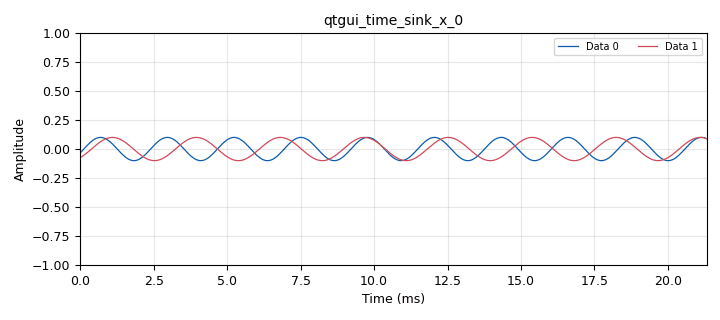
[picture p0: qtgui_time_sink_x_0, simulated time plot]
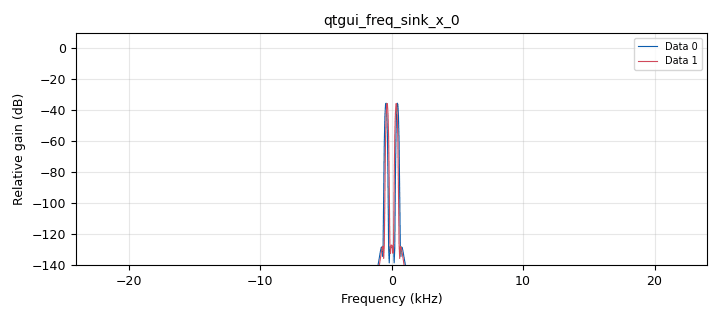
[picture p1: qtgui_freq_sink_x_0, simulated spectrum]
<?xml version='1.0' encoding='utf-8'?>
<?grc format='1' created='3.7.7'?>
<flow_graph>
<block>
<key>options</key>
<param><key>id</key><value>tutorial_two_6</value></param>
<param><key>generate_options</key><value>qt_gui</value></param>
<param><key>category</key><value>Custom</value></param>
</block>
<block>
<key>variable</key>
<param><key>id</key><value>audio_rate</value></param>
<param><key>value</key><value>48000</value></param>
</block>
<block>
<key>audio_sink</key>
<param><key>id</key><value>audio_sink_0</value></param>
<param><key>samp_rate</key><value>audio_rate</value></param>
<param><key>num_inputs</key><value>2</value></param>
</block>
<block>
<key>analog_sig_source_x</key>
<param><key>id</key><value>analog_sig_source_x_1</value></param>
<param><key>type</key><value>float</value></param>
<param><key>samp_rate</key><value>samp_rate</value></param>
<param><key>waveform</key><value>analog.GR_SIN_WAVE</value></param>
<param><key>freq</key><value>350</value></param>
<param><key>amp</key><value>.1</value></param>
<param><key>offset</key><value>0</value></param>
</block>
<block>
<key>analog_sig_source_x</key>
<param><key>id</key><value>analog_sig_source_x_0</value></param>
<param><key>type</key><value>float</value></param>
<param><key>samp_rate</key><value>samp_rate</value></param>
<param><key>waveform</key><value>analog.GR_SIN_WAVE</value></param>
<param><key>freq</key><value>440</value></param>
<param><key>amp</key><value>.1</value></param>
<param><key>offset</key><value>0</value></param>
</block>
<block>
<key>qtgui_time_sink_x</key>
<param><key>id</key><value>qtgui_time_sink_x_0</value></param>
<param><key>type</key><value>float</value></param>
<param><key>name</key><value></value></param>
<param><key>size</key><value>1024</value></param>
<param><key>srate</key><value>audio_rate</value></param>
<param><key>nconnections</key><value>2</value></param>
<param><key>label1</key><value></value></param>
<param><key>color1</key><value>"blue"</value></param>
<param><key>label2</key><value></value></param>
<param><key>color2</key><value>"red"</value></param>
</block>
<block>
<key>qtgui_freq_sink_x</key>
<param><key>id</key><value>qtgui_freq_sink_x_0</value></param>
<param><key>type</key><value>float</value></param>
<param><key>name</key><value></value></param>
<param><key>fftsize</key><value>1024</value></param>
<param><key>wintype</key><value>firdes.WIN_BLACKMAN_hARRIS</value></param>
<param><key>fc</key><value>0</value></param>
<param><key>bw</key><value>audio_rate</value></param>
<param><key>nconnections</key><value>2</value></param>
<param><key>showports</key><value>True</value></param>
<param><key>label2</key><value></value></param>
</block>
<block>
<key>variable_qtgui_chooser</key>
<param><key>id</key><value>samp_rate</value></param>
<param><key>label</key><value>Signal Sampling Rate</value></param>
<param><key>type</key><value>real</value></param>
<param><key>num_opts</key><value>3</value></param>
<param><key>value</key><value>48000</value></param>
<param><key>option0</key><value>48000</value></param>
<param><key>label0</key><value>48000</value></param>
<param><key>option1</key><value>24000</value></param>
<param><key>label1</key><value>24000</value></param>
<param><key>option2</key><value>160000</value></param>
<param><key>label2</key><value>160000</value></param>
</block>
<connection><source_block_id>analog_sig_source_x_0</source_block_id><sink_block_id>audio_sink_0</sink_block_id><source_key>0</source_key><sink_key>0</sink_key></connection>
<connection><source_block_id>analog_sig_source_x_1</source_block_id><sink_block_id>audio_sink_0</sink_block_id><source_key>0</source_key><sink_key>1</sink_key></connection>
<connection><source_block_id>analog_sig_source_x_0</source_block_id><sink_block_id>qtgui_time_sink_x_0</sink_block_id><source_key>0</source_key><sink_key>0</sink_key></connection>
<connection><source_block_id>analog_sig_source_x_1</source_block_id><sink_block_id>qtgui_time_sink_x_0</sink_block_id><source_key>0</source_key><sink_key>1</sink_key></connection>
<connection><source_block_id>analog_sig_source_x_0</source_block_id><sink_block_id>qtgui_freq_sink_x_0</sink_block_id><source_key>0</source_key><sink_key>0</sink_key></connection>
<connection><source_block_id>analog_sig_source_x_1</source_block_id><sink_block_id>qtgui_freq_sink_x_0</sink_block_id><source_key>0</source_key><sink_key>1</sink_key></connection>
</flow_graph>
